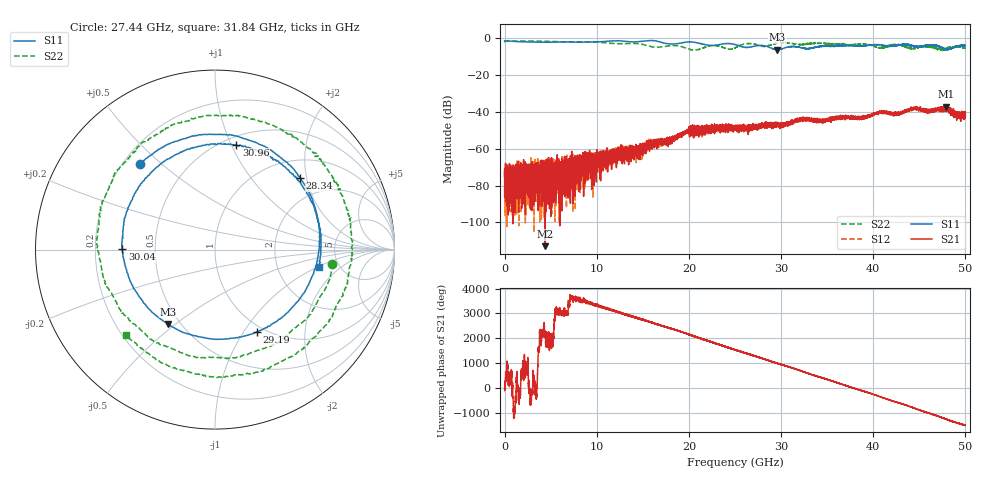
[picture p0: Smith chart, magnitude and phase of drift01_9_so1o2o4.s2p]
!Created with skrf (http://scikit-rf.org).
# Hz S RI R 50.0
!freq ReS11 ImS11 ReS21 ImS21 ReS12 ImS12 ReS22 ImS22
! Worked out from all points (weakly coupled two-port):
!   10001 points, 300 kHz to 50 GHz, reference 50 ohm
!   highest |S21| = -37.07 dB at 47.92 GHz (marker M1); lowest = -113.0 dB at 4.405 GHz (marker M2)
!   lowest |S11| = -6.2 dB at 29.61 GHz (marker M3), VSWR 2.92, Z = 21.5 - j23.5 ohm
!   |S11| at or under -10 dB: nowhere
!   |S22| runs from -6.6 to -1.4 dB; largest |S21 - S12| = 0.0041
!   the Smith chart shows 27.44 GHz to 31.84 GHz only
!   S11 on the Smith chart (normalised r, x): 27.44 GHz: 0.27, +0.42; 28.34 GHz: 1.42, +1.83; 29.19 GHz: 0.92, -1.15; 30.04 GHz: 0.32, +0.00; 30.96 GHz: 0.58, +1.05; 31.84 GHz: 3.48, -1.05
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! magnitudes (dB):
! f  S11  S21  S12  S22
! 300 kHz  -1.3  -74.9  -70.2  -2.2
! 400.3 MHz  -1.4  -79.8  -85.3  -1.4
! 4.405 GHz  -2.1  -113.0  -73.5  -1.5
! 8.335 GHz  -2.0  -72.1  -67.8  -1.8
! 9.9 GHz  -1.9  -65.2  -62.5  -2.0
! 16.67 GHz  -1.6  -55.9  -56.9  -4.8
! 20.2 GHz  -1.9  -50.4  -51.1  -6.1
! 22.61 GHz  -3.9  -48.8  -50.2  -3.8
! 25 GHz  -3.3  -49.3  -49.9  -5.1
! 27.44 GHz  -4.0  -48.7  -49.5  -3.7
! 28.34 GHz  -4.2  -46.8  -47.2  -4.2
! 29.19 GHz  -5.8  -46.3  -46.7  -3.1
! 29.61 GHz  -6.2  -47.2  -46.9  -2.5
! 30.04 GHz  -5.7  -47.7  -46.9  -2.3
! 30.96 GHz  -4.5  -45.9  -45.8  -2.5
! 31.84 GHz  -4.7  -43.9  -44.3  -3.3
! 33.34 GHz  -5.2  -44.2  -44.7  -2.7
! 41.67 GHz  -4.3  -40.8  -40.7  -4.4
! 44.43 GHz  -4.1  -38.0  -38.2  -5.2
! 46.49 GHz  -3.5  -40.1  -38.7  -5.2
! 47.92 GHz  -6.0  -37.1  -37.7  -5.1
! 50 GHz  -3.9  -42.4  -41.8  -5.4
